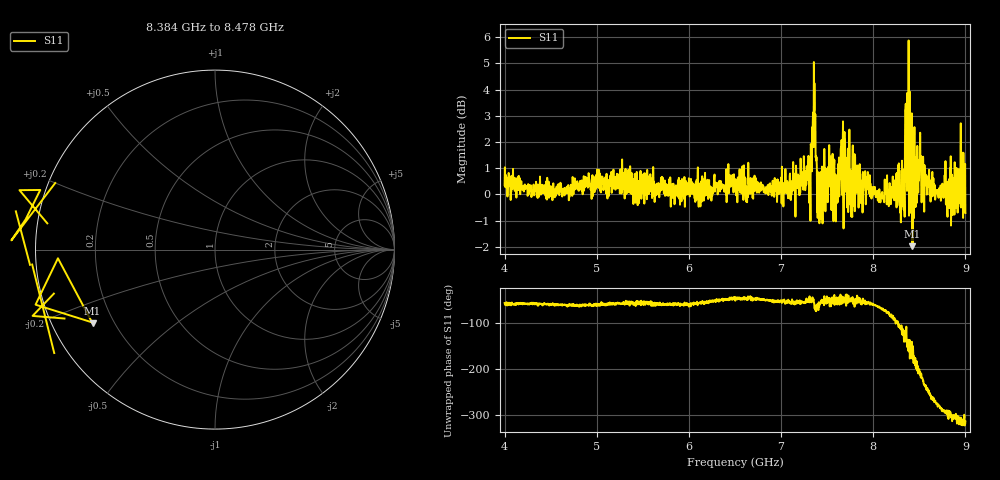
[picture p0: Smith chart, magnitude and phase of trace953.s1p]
! Created with skrf 1.8.0 (http://scikit-rf.org).
# Hz S RI R 50.0
!freq ReS11 ImS11
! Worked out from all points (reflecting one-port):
!   1601 points, 4 GHz to 9 GHz, reference 50 ohm
!   lowest |S11| = -2.0 dB at 8.422 GHz (marker M1), VSWR 8.82, Z = 6.1 - j13.7 ohm
!   phase of S11 starts at -56 deg and turns -258 deg over the sweep
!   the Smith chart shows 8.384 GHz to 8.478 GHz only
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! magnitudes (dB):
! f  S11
! 4 GHz  0.4
! 4.625 GHz  -0.1
! 5.25 GHz  0.0
! 5.875 GHz  0.1
! 6.5 GHz  0.3
! 7.125 GHz  0.1
! 7.294 GHz  1.3
! 7.328 GHz  1.1
! 7.347 GHz  3.1
! 7.369 GHz  2.9
! 7.4 GHz  0.7
! 7.416 GHz  -1.1
! 7.538 GHz  1.5
! 7.606 GHz  0.7
! 7.669 GHz  1.8
! 7.75 GHz  0.8
! 8.259 GHz  0.4
! 8.316 GHz  0.6
! 8.331 GHz  -0.6
! 8.375 GHz  2.2
! 8.394 GHz  0.9
! 8.412 GHz  0.2
! 8.422 GHz  -2.0
! 8.447 GHz  2.6
! 8.503 GHz  1.3
! 8.812 GHz  0.5
! 8.953 GHz  -0.5
! 9 GHz  -0.7
